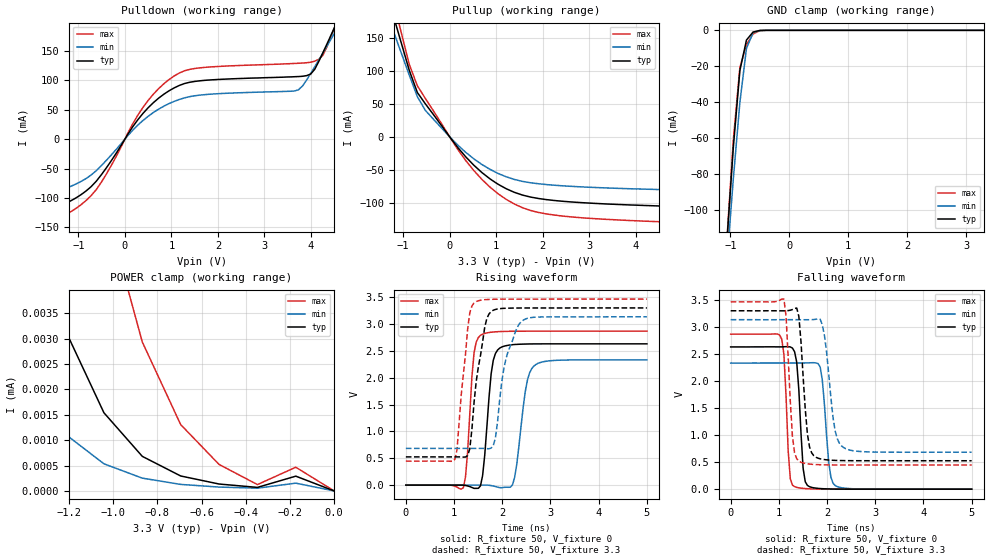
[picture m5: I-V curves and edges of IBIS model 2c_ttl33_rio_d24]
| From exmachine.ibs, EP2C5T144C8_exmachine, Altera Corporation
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[Model] 2c_ttl33_rio_d24
Model_type I/O
Vinl  = 0.8V
Vinh  = 1.7V
Vmeas = 1.5675V
Rref  = 1M
Cref  = 0pF
Vref  = 0V
C_comp  3.3pF   NA   NA
[Temperature Range] 25   85   0
[Voltage Range]   3.3   3.135   3.465
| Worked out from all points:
|   slope of the pulldown table from 0 to 0.495 V, typ, clamps not added: 9.34 ohm
|   slope of the pullup table from 0 to 0.495 V, typ, clamps not added: 12 ohm
|   GND clamp passes 1 mA (typ) near -0.62 V on its own axis
|   rising waveform, R_fixture 50, V_fixture 0: 20-80 % time 142ps typ, 192ps min, 121ps max; typ from 0 V to 2.63 V
|   falling waveform, R_fixture 50, V_fixture 0: 20-80 % time 102ps typ, 123ps min, 88.7ps max; typ from 2.63 V to 0 V
|   rising waveform, R_fixture 50, V_fixture 3.3: 20-80 % time 231ps typ, 291ps min, 183ps max; typ from 0.526 V to 3.3 V
|   falling waveform, R_fixture 50, V_fixture 3.3: 20-80 % time 129ps typ, 176ps min, 108ps max; typ from 3.3 V to 0.526 V
[GND Clamp]
| voltage   I (typ)   I (min)   I (max)
-3.3V     -1.379A    -1.218A    -1.475A
-1.063V   -119.5mA   -130.7mA   -118.6mA
-950.8mV  -65.61mA   -83.07mA   -61.36mA
-839mV    -22.42mA   -40.22mA   -20.68mA
-727.1mV  -5.406mA   -10.03mA   -7.969mA
-615.2mV  -953.2uA   -1.404mA   -2.067mA
-503.4mV  -74.89uA   -141.3uA   -180.2uA
-391.5mV  -3.887uA   -8.056uA   -7.422uA
3.3V      9.632nA    145.8nA    -15.38nA
[Pulldown]
| voltage   I (typ)   I (min)   I (max)
-3.3V     -127mA     -102.5mA   -145mA
-1.958V   -126.1mA   -97.83mA   -147.2mA
-950.8mV  -94.92mA   -72.35mA   -112.1mA
-503.4mV  -60.38mA   -44.84mA   -73.08mA
503.4mV   53.7mA     39.09mA    66.22mA
1.175V    91.6mA     67.68mA    112.8mA
3.734V    106.6mA    84.1mA     129.2mA
3.995V    110.9mA    111.9mA    131mA
4.168V    132.1mA    134.6mA    135.8mA
4.516V    191.6mA    181.8mA    191.8mA
4.603V    206.7mA    193.9mA    209.5mA
6.6V      575.1mA    495.1mA    639.3mA
[POWER Clamp]
| voltage   I (typ)   I (min)   I (max)
-3.3V     85.54uA    53.94uA    123.1uA
-1.563V   9.367uA    3.921uA    20.89uA
-1.389V   5.741uA    2.184uA    14.76uA
-1.216V   3.156uA    1.115uA    9.676uA
-1.042V   1.54uA     534.5nA    5.706uA
-868.4mV  681.3nA    252.1nA    2.934uA
-694.7mV  294.6nA    128.6nA    1.307uA
-521.1mV  136.1nA    75.97nA    522.2nA
-347.4mV  69.45nA    54.57nA    125.1nA
-173.7mV  290.9nA    152.8nA    466.7nA
0V        0A         0A         0A
[Pullup]
| voltage   I (typ)   I (min)   I (max)
-3.3V     665.1mA    567.8mA    751.5mA
-1.389V   226.6mA    195.3mA    255.2mA
-1.216V   184.7mA    161.3mA    206.9mA
-1.042V   142.7mA    127.3mA    158.3mA
-868.4mV  100.7mA    93.5mA     109.8mA
-694.7mV  67.13mA    60.89mA    77.36mA
-521.1mV  49.78mA    39.87mA    57.92mA
173.7mV   -16.1mA    -12.51mA   -19.02mA
868.4mV   -63.81mA   -49.36mA   -76.3mA
1.563V    -88.23mA   -67.51mA   -107.3mA
2.779V    -99.5mA    -75.68mA   -122.3mA
6.6V      -113mA     -86mA      -136.9mA
[Ramp]
dV/dt_r   1.579e+000/1.422e-010  1.400e+000/1.918e-010  1.720e+000/1.212e-010
dV/dt_f   1.665e+000/1.290e-010  1.471e+000/1.761e-010  1.811e+000/1.077e-010
R_load = 50ohms
[Rising Waveform]
R_fixture   = 50
V_fixture   = 0
V_fixture_min = 0
V_fixture_max = 0
| time   V (typ)   V (min)   V (max)
0s        0V         0V         0V
1.193ns   -722.9uV   -65.24uV   -46.23mV
1.415ns   -60.76mV   -27.9uV    2.466V
1.548ns   -14.16mV   74.59uV    2.789V
1.769ns   2.074V     -8.374mV   2.848V
1.946ns   2.551V     -46.97mV   2.86V
2.256ns   2.619V     143.5mV    2.866V
2.478ns   2.627V     1.748V     2.867V
2.655ns   2.63V      2.217V     2.867V
5ns       2.631V     2.333V     2.867V
[Falling Waveform]
R_fixture   = 50
V_fixture   = 0
V_fixture_min = 0
V_fixture_max = 0
| time   V (typ)   V (min)   V (max)
0s        2.631V     2.333V     2.867V
1.06ns    2.632V     2.334V     2.775V
1.237ns   2.631V     2.334V     193.2mV
1.326ns   2.542V     2.334V     46.2mV
1.503ns   384.4mV    2.334V     14.46mV
1.592ns   69.66mV    2.335V     8.608mV
1.858ns   11.34mV    2.257V     1.806mV
2.035ns   4.144mV    492.7mV    625.5uV
2.168ns   1.945mV    67.12mV    276.1uV
5ns       0V         -4.85uV    -421.8nV
[Rising Waveform]
R_fixture   = 50
V_fixture   = 3.3
V_fixture_min = 3.135
V_fixture_max = 3.465
| time   V (typ)   V (min)   V (max)
0s        525.6mV    683.4mV    446.7mV
1.016ns   525.6mV    683.1mV    479.7mV
1.06ns    525.7mV    683.2mV    655mV
1.326ns   676mV      683.3mV    3.211V
1.459ns   1.927V     683.4mV    3.42V
1.725ns   3.188V     677.4mV    3.458V
1.858ns   3.272V     877mV      3.462V
2.079ns   3.294V     2.363V     3.464V
2.433ns   3.299V     3.071V     3.464V
5ns       3.3V       3.135V     3.465V
[Falling Waveform]
R_fixture   = 50
V_fixture   = 3.3
V_fixture_min = 3.135
V_fixture_max = 3.465
| time   V (typ)   V (min)   V (max)
0s        3.3V       3.135V     3.465V
1.104ns   3.299V     3.135V     3.516V
1.282ns   3.323V     3.135V     973.6mV
1.415ns   3.194V     3.134V     519.7mV
1.592ns   1.022V     3.134V     468.9mV
1.725ns   619.1mV    3.138V     457.5mV
1.902ns   553.1mV    3.038V     450.8mV
2.168ns   532.3mV    1.077V     447.6mV
2.301ns   528.9mV    799.4mV    447.2mV
5ns       525.6mV    683.4mV    446.7mV
